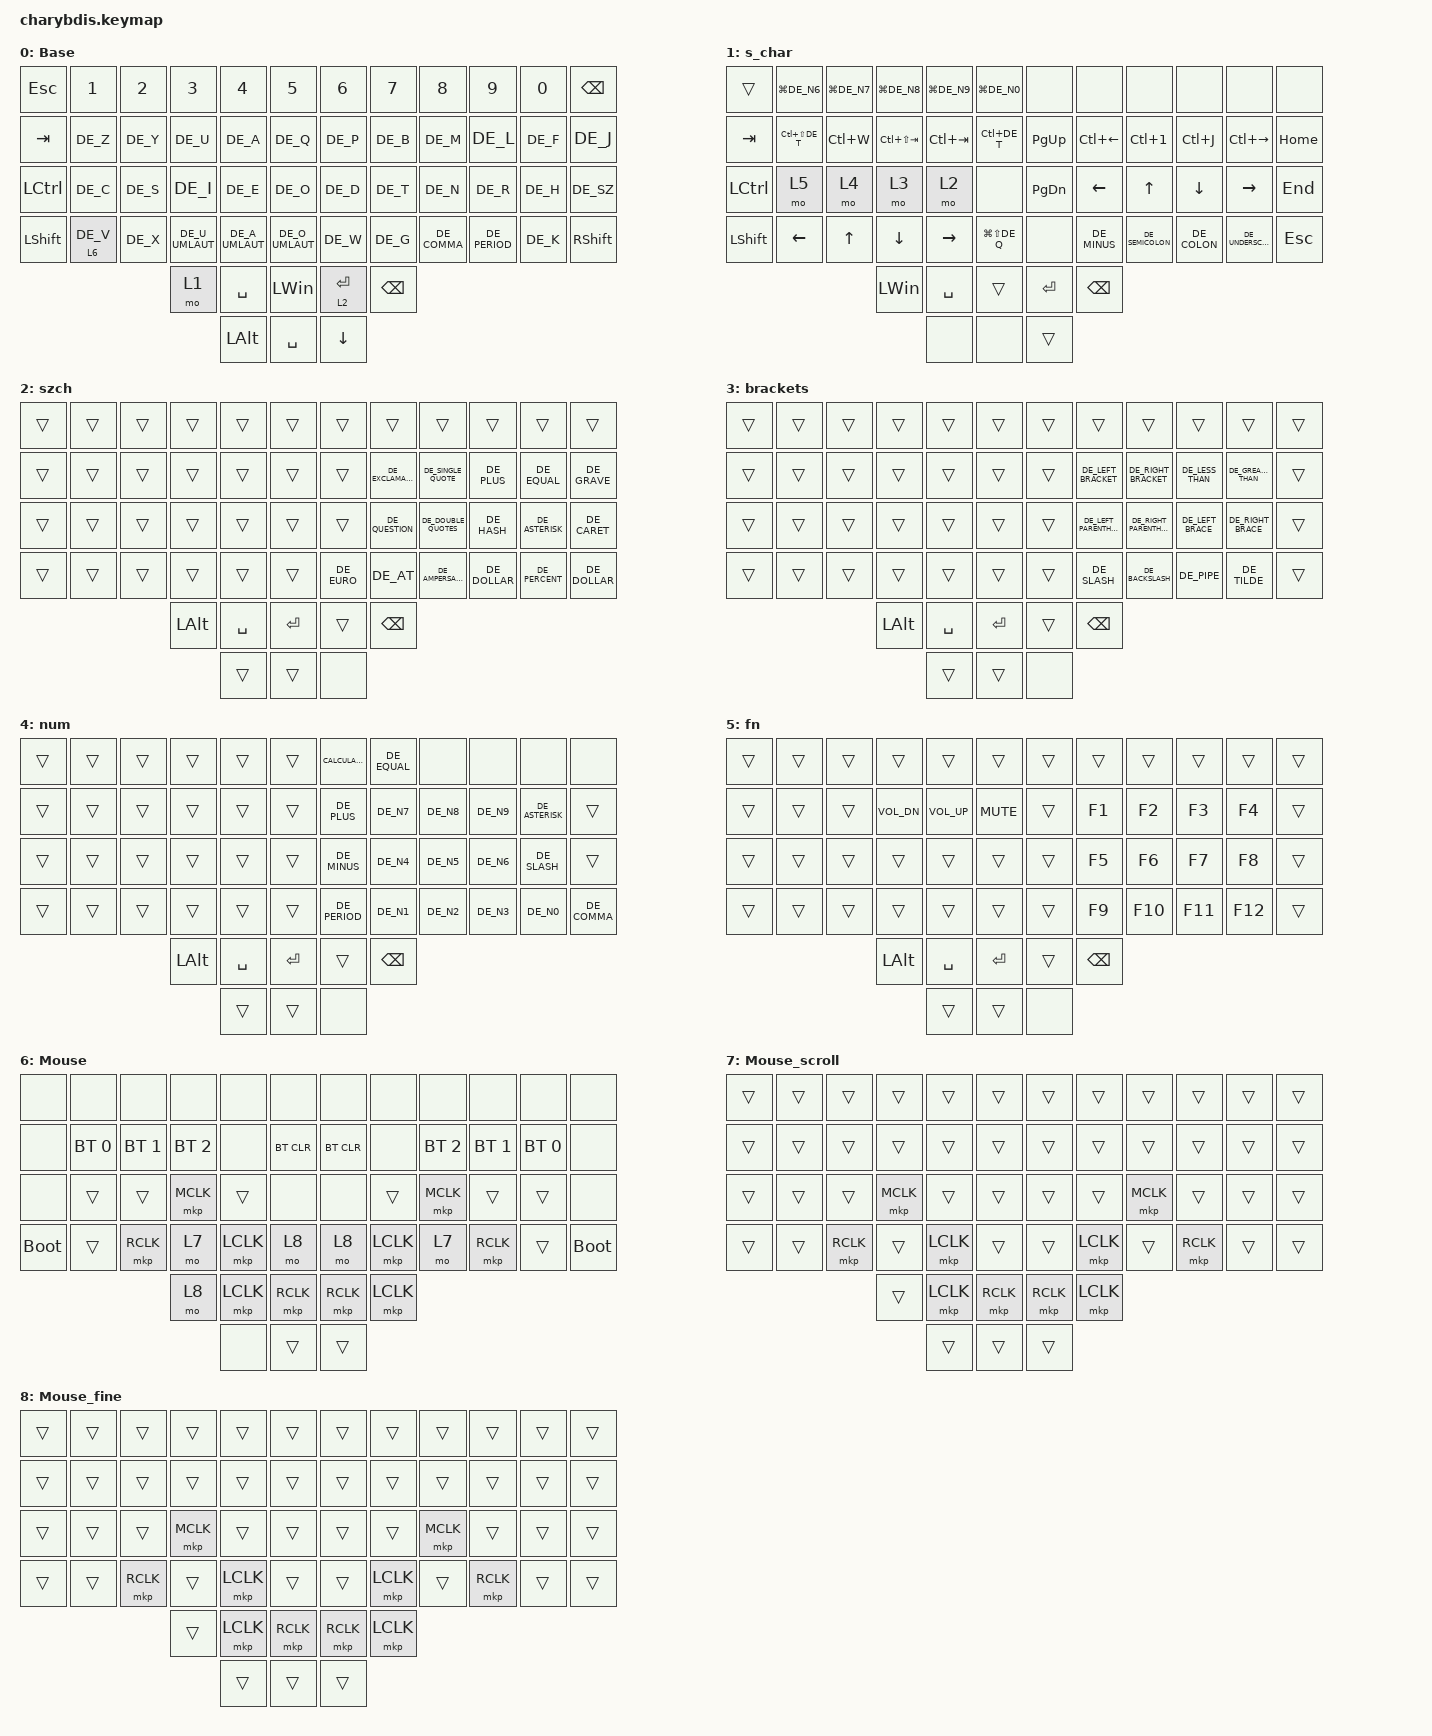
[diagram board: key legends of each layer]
#include <behaviors.dtsi>
#include <dt-bindings/zmk/bt.h>
#include <dt-bindings/zmk/keys.h>
#include <dt-bindings/zmk/mouse.h>
#include "keys_de.h"


&lt {
    tapping-term-ms = <200>;
    flavor = "balanced";
    quick-tap-ms = <150>;
};

/ {
    combos {
        compatible = "zmk,combos";

        escc {
            bindings = <&kp ESC>;
            key-positions = <17 18>;
            layers = <0>;
        };
    };

    keymap {
        compatible = "zmk,keymap";

        Base {
            bindings = <
&kp ESC         &kp N1     &kp N2   &kp N3          &kp N4          &kp N5            &kp N6          &kp N7           &kp N8       &kp N9         &kp N0       &kp BSPC
&kp TAB         &kp DE_Z   &kp DE_Y &kp DE_U        &kp DE_A        &kp DE_Q          &kp DE_P        &kp DE_B         &kp DE_M     &kp DE_L       &kp DE_F     &kp DE_J
&kp LCTRL       &kp DE_C   &kp DE_S &kp DE_I        &kp DE_E        &kp DE_O          &kp DE_D        &kp DE_T         &kp DE_N     &kp DE_R       &kp DE_H     &kp DE_SZ
&kp LSHFT       &lt 6 DE_V &kp DE_X &kp DE_U_UMLAUT &kp DE_A_UMLAUT &kp DE_O_UMLAUT   &kp DE_W        &kp DE_G         &kp DE_COMMA &kp DE_PERIOD  &kp DE_K     &kp RSHFT
                                  &mo 1             &kp SPACE       &kp LEFT_WIN    &lt 2 ENTER     &kp BACKSPACE 
                                                    &kp LEFT_ALT    &kp SPACE         &kp DOWN_ARROW
            >;

            trackball-bindings = <&tmv_coarse>;
        };

        s_char {
            bindings = <
&trans     &kp LG(DE_N6)     &kp LG(DE_N7)  &kp LG(DE_N8)    &kp LG(DE_N9)  &kp LG(DE_N0)    &none      &none         &none             &none         &none              &none
&kp TAB    &kp LC(LS(DE_T))  &kp LC(W)      &kp LC(LS(TAB))  &kp LC(TAB)    &kp LC(DE_T)     &kp PG_UP  &kp LC(LEFT)  &kp LC(NUMBER_1)  &kp LC(J)     &kp LC(RIGHT)      &kp HOME
&kp LCTRL  &mo 5             &mo 4          &mo 3            &mo 2          &none            &kp PG_DN  &kp LEFT      &kp UP            &kp DOWN      &kp RIGHT          &kp END
&kp LSHFT  &kp LEFT          &kp UP         &kp DOWN         &kp RIGHT      &kp LG(LS(DE_Q)) &none      &kp DE_MINUS  &kp DE_SEMICOLON  &kp DE_COLON  &kp DE_UNDERSCORE  &kp ESC
                                            &kp LEFT_WIN     &kp SPACE      &trans           &kp ENTER  &kp BACKSPACE
                                                             &none          &none            &trans
            >;
        };

        szch {
            bindings = <
&trans  &trans  &trans  &trans  &trans  &trans  &trans       &trans              &trans                &trans         &trans           &trans
&trans  &trans  &trans  &trans  &trans  &trans  &trans       &kp DE_EXCLAMATION  &kp DE_SINGLE_QUOTE   &kp DE_PLUS    &kp DE_EQUAL     &kp DE_GRAVE
&trans  &trans  &trans  &trans  &trans  &trans  &trans       &kp DE_QUESTION     &kp DE_DOUBLE_QUOTES  &kp DE_HASH    &kp DE_ASTERISK  &kp DE_CARET
&trans  &trans  &trans  &trans  &trans  &trans  &kp DE_EURO  &kp DE_AT           &kp DE_AMPERSAND      &kp DE_DOLLAR  &kp DE_PERCENT   &kp DE_DOLLAR
                                          &kp LEFT_ALT   &kp SPACE      &kp ENTER       &trans        &kp BACKSPACE
                                                         &trans         &trans          &none
            >;
        };

	brackets {
            bindings = <
&trans  &trans  &trans  &trans  &trans  &trans     &trans     &trans                   &trans                    &trans             &trans               &trans
&trans  &trans  &trans  &trans  &trans  &trans     &trans     &kp DE_LEFT_BRACKET      &kp DE_RIGHT_BRACKET      &kp DE_LESS_THAN   &kp DE_GREATER_THAN  &trans
&trans  &trans  &trans  &trans  &trans  &trans     &trans     &kp DE_LEFT_PARENTHESIS  &kp DE_RIGHT_PARENTHESIS  &kp DE_LEFT_BRACE  &kp DE_RIGHT_BRACE   &trans
&trans  &trans  &trans  &trans  &trans  &trans     &trans     &kp DE_SLASH             &kp DE_BACKSLASH          &kp DE_PIPE        &kp DE_TILDE         &trans
                                          &kp LEFT_ALT   &kp SPACE      &kp ENTER       &trans        &kp BACKSPACE
                                                         &trans         &trans          &none
            >;
        };

	num {
            bindings = <
&trans  &trans  &trans  &trans  &trans  &trans      &kp K_CALCULATOR  &kp DE_EQUAL  &none      &none      &none            &none
&trans  &trans  &trans  &trans  &trans  &trans      &kp DE_PLUS       &kp DE_N7     &kp DE_N8  &kp DE_N9  &kp DE_ASTERISK  &trans
&trans  &trans  &trans  &trans  &trans  &trans      &kp DE_MINUS      &kp DE_N4     &kp DE_N5  &kp DE_N6  &kp DE_SLASH     &trans
&trans  &trans  &trans  &trans  &trans  &trans      &kp DE_PERIOD     &kp DE_N1     &kp DE_N2  &kp DE_N3  &kp DE_N0        &kp DE_COMMA
                                          &kp LEFT_ALT   &kp SPACE      &kp ENTER       &trans        &kp BACKSPACE
                                                         &trans         &trans          &none
            >;
        };

	fn {
            bindings = <
&trans  &trans  &trans  &trans        &trans        &trans       &trans  &trans  &trans   &trans   &trans   &trans
&trans  &trans  &trans  &kp C_VOL_DN  &kp C_VOL_UP  &kp C_MUTE   &trans  &kp F1  &kp F2   &kp F3   &kp F4   &trans
&trans  &trans  &trans  &trans        &trans        &trans       &trans  &kp F5  &kp F6   &kp F7   &kp F8   &trans
&trans  &trans  &trans  &trans        &trans        &trans       &trans  &kp F9  &kp F10  &kp F11  &kp F12  &trans
                                          &kp LEFT_ALT   &kp SPACE      &kp ENTER       &trans        &kp BACKSPACE
                                                         &trans         &trans          &none
            >;
        };

        Mouse {
            bindings = <
&none        &none         &none         &none         &none      &none         &none       &none      &none         &none         &none         &none
&none        &bt BT_SEL 0  &bt BT_SEL 1  &bt BT_SEL 2  &none      &bt BT_CLR    &bt BT_CLR  &none      &bt BT_SEL 2  &bt BT_SEL 1  &bt BT_SEL 0  &none
&none        &trans        &trans        &mkp MCLK     &trans     &none         &none       &trans     &mkp MCLK     &trans        &trans        &none
&bootloader  &trans        &mkp RCLK     &mo 7         &mkp LCLK  &mo 8         &mo 8       &mkp LCLK  &mo 7         &mkp RCLK     &trans        &bootloader
                                         &mo 8         &mkp LCLK  &mkp RCLK     &mkp RCLK   &mkp LCLK
                                                       &none      &trans        &trans
            >;
        };

        Mouse_scroll {
            bindings = <
&trans  &trans  &trans     &trans     &trans     &trans       &trans     &trans     &trans     &trans     &trans  &trans
&trans  &trans  &trans     &trans     &trans     &trans       &trans     &trans     &trans     &trans     &trans  &trans
&trans  &trans  &trans     &mkp MCLK  &trans     &trans       &trans     &trans     &mkp MCLK  &trans     &trans  &trans
&trans  &trans  &mkp RCLK  &trans     &mkp LCLK  &trans       &trans     &mkp LCLK  &trans     &mkp RCLK  &trans  &trans
                           &trans     &mkp LCLK  &mkp RCLK    &mkp RCLK  &mkp LCLK
                                      &trans     &trans       &trans
            >;

            trackball-bindings = <&tsl>;
        };

        Mouse_fine {
            bindings = <
&trans  &trans  &trans     &trans     &trans     &trans       &trans     &trans     &trans     &trans     &trans  &trans
&trans  &trans  &trans     &trans     &trans     &trans       &trans     &trans     &trans     &trans     &trans  &trans
&trans  &trans  &trans     &mkp MCLK  &trans     &trans       &trans     &trans     &mkp MCLK  &trans     &trans  &trans
&trans  &trans  &mkp RCLK  &trans     &mkp LCLK  &trans       &trans     &mkp LCLK  &trans     &mkp RCLK  &trans  &trans
                           &trans     &mkp LCLK  &mkp RCLK    &mkp RCLK  &mkp LCLK
                                      &trans     &trans       &trans
            >;

            trackball-bindings = <&tmv_fine>;
        };
    };
};
